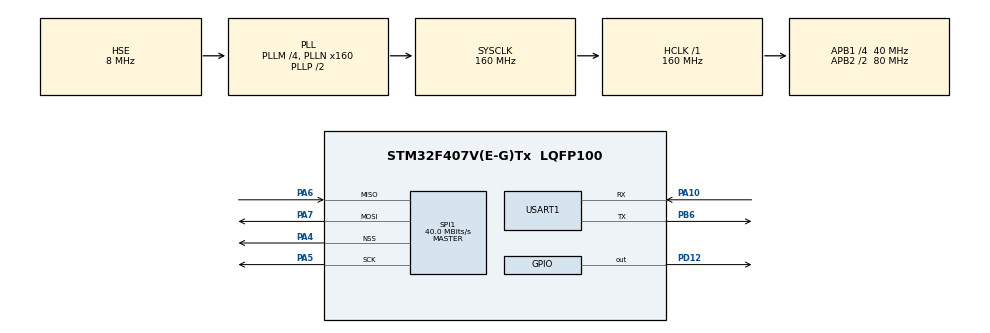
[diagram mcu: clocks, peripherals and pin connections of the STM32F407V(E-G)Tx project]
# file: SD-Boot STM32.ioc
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Mcu.Family=STM32F4
Mcu.Name=STM32F407V(E-G)Tx
Mcu.Package=LQFP100
NVIC.PriorityGroup=NVIC_PRIORITYGROUP_4
PA10.Mode=Asynchronous
PA10.Signal=USART1_RX
PA13.Mode=Serial_Wire
PA13.Signal=SYS_JTMS-SWDIO
PA14.Mode=Serial_Wire
PA14.Signal=SYS_JTCK-SWCLK
PA4.Mode=NSS_Signal_Hard_Output
PA4.Signal=SPI1_NSS
PA5.Mode=Full_Duplex_Master
PA5.Signal=SPI1_SCK
PA6.Mode=Full_Duplex_Master
PA6.Signal=SPI1_MISO
PA7.Mode=Full_Duplex_Master
PA7.Signal=SPI1_MOSI
PB6.Mode=Asynchronous
PB6.Signal=USART1_TX
PD12.Signal=GPIO_Output
PH0-OSC_IN.Mode=HSE-External-Oscillator
PH0-OSC_IN.Signal=RCC_OSC_IN
PH1-OSC_OUT.Mode=HSE-External-Oscillator
PH1-OSC_OUT.Signal=RCC_OSC_OUT
ProjectManager.HeapSize=0x200
ProjectManager.StackSize=0x400
ProjectManager.TargetToolchain=STM32CubeIDE
RCC.48MHZClocksFreq_Value=80000000
RCC.AHBFreq_Value=160000000
RCC.APB1CLKDivider=RCC_HCLK_DIV4
RCC.APB1Freq_Value=40000000
RCC.APB1TimFreq_Value=80000000
RCC.APB2CLKDivider=RCC_HCLK_DIV2
RCC.APB2Freq_Value=80000000
RCC.APB2TimFreq_Value=160000000
RCC.CortexFreq_Value=160000000
RCC.HCLKFreq_Value=160000000
RCC.HSE_VALUE=8000000
RCC.HSI_VALUE=16000000
RCC.LSE_VALUE=32768
RCC.PLLM=4
RCC.PLLN=160
RCC.PLLSourceVirtual=RCC_PLLSOURCE_HSE
RCC.SYSCLKFreq_VALUE=160000000
RCC.SYSCLKSource=RCC_SYSCLKSOURCE_PLLCLK
RCC.VCOOutputFreq_Value=320000000
SPI1.CalculateBaudRate=40.0 MBits/s
SPI1.Direction=SPI_DIRECTION_2LINES
SPI1.Mode=SPI_MODE_MASTER
SPI1.VirtualNSS=VM_NSSHARD
SPI1.VirtualType=VM_MASTER
USART1.VirtualMode=VM_ASYNC
VP_FATFS_VS_Generic.Mode=User_defined
VP_RTC_VS_RTC_Activate.Mode=RTC_Enabled
board=custom

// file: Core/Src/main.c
/* USER CODE BEGIN Header */
/**
 ******************************************************************************
 * @file           : main.c
 * @brief          : Main program body
 ******************************************************************************
 * @attention
 *
 * Copyright (c) 2025 STMicroelectronics.
 * All rights reserved.
 *
 * This software is licensed under terms that can be found in the LICENSE file
 * in the root directory of this software component.
 * If no LICENSE file comes with this software, it is provided AS-IS.
 *
 ******************************************************************************
 */
/* USER CODE END Header */
#include "main.h"
#include "fatfs.h"
#include "rtc.h"
#include "spi.h"
#include "usart.h"
#include "gpio.h"

/* USER CODE BEGIN Includes */
#include <stdio.h>
#include <string.h>
#include "sd_card.h"
#include "stm32f4xx.h"  // Needed for SCB and __set_MSP
#include "app_handler.h"
/* USER CODE END Includes */

/* USER CODE BEGIN PTD */
#define APP_SP_ADD (APP_START_ADDRESS)
#define APP_RESET_HANDLER   (APP_SP_ADD + 4)
/* USER CODE END PTD */

/* USER CODE BEGIN PV */
extern uint32_t APP_START_ADDRESS;

FATFS fs;
FIL file;
FRESULT res;
UINT bw;

/* USER CODE END PV */

void SystemClock_Config(void);
/* USER CODE BEGIN PFP */
void Test_FATFS_SPI(void)
{
    // Mount filesystem
    uint8_t ret = f_mount(&fs, "", 1);
    printf("ret - %d\r\n", ret);
    if (ret == FR_OK)
    {
        // Create and open file
        res = f_open(&file, "hello2.txt", FA_WRITE | FA_CREATE_ALWAYS);
        printf("res - %d\r\n", res);
        if (res == FR_OK)
        {
            char *text = "Hello from STM32 SPI FATFS!\r\n";
            f_write(&file, text, strlen(text), &bw);
            printf("write success\r\n");

            f_close(&file);
        }
        // Unmount
        f_mount(NULL, "", 1);
    }
    else
    {
        printf("Culd not mount\r\n");
    }
}

void jump_to_app();

/* USER CODE END PFP */

int main(void)
{

    /* MCU Configuration--------------------------------------------------------*/

    /* Reset of all peripherals, Initializes the Flash interface and the Systick. */
    HAL_Init();

    /* Configure the system clock */
    SystemClock_Config();

    /* Initialize all configured peripherals */
    MX_GPIO_Init();
    MX_USART1_UART_Init();
    MX_RTC_Init();
    MX_SPI1_Init();
    SD_Init(); // Or whatever your function name is
    MX_FATFS_Init();
    /* USER CODE BEGIN 2 */

    printf("*(uint32_t*) (APP_START_ADDRESS) = %ld\r\n", *(uint32_t*) (APP_START_ADDRESS));
    fflush(stdout);
    HAL_Delay(1000);

    if (*(uint32_t*) (APP_START_ADDRESS) == 0xFFFFFFFF)
    {
        printf("No Code Found\r\n");
//      Test_FATFS_SPI();

        start_firmware_update();
        if (*(int32_t*) (APP_START_ADDRESS) != -1)
        {
        printf("YES Code Found - %8lX %8lX\r\n", *(uint32_t*) (APP_START_ADDRESS), *(uint32_t*) (APP_START_ADDRESS + 4));
            jump_to_app();
        }
    }
    else
    {
        printf("YES Code Found - %8lX %8lX\r\n", *(uint32_t*) (APP_START_ADDRESS),
                        *(uint32_t*) (APP_START_ADDRESS + 4));
        jump_to_app();
    }
    /* USER CODE END 2 */

    /* Infinite loop */
    /* USER CODE BEGIN WHILE */
    while (1)
    {
        HAL_GPIO_TogglePin(GPIOD, GPIO_PIN_12);
        HAL_Delay(100);
        /* USER CODE END WHILE */

    }
}

void SystemClock_Config(void)
{
    RCC_OscInitTypeDef RCC_OscInitStruct = { 0 };
    RCC_ClkInitTypeDef RCC_ClkInitStruct = { 0 };

    /** Configure the main internal regulator output voltage
     */
    __HAL_RCC_PWR_CLK_ENABLE();
    __HAL_PWR_VOLTAGESCALING_CONFIG(PWR_REGULATOR_VOLTAGE_SCALE1);

    /** Initializes the RCC Oscillators according to the specified parameters
     * in the RCC_OscInitTypeDef structure.
     */
    RCC_OscInitStruct.OscillatorType = RCC_OSCILLATORTYPE_LSI | RCC_OSCILLATORTYPE_HSE;
    RCC_OscInitStruct.HSEState = RCC_HSE_ON;
    RCC_OscInitStruct.LSIState = RCC_LSI_ON;
    RCC_OscInitStruct.PLL.PLLState = RCC_PLL_ON;
    RCC_OscInitStruct.PLL.PLLSource = RCC_PLLSOURCE_HSE;
    RCC_OscInitStruct.PLL.PLLM = 4;
    RCC_OscInitStruct.PLL.PLLN = 160;
    RCC_OscInitStruct.PLL.PLLP = RCC_PLLP_DIV2;
    RCC_OscInitStruct.PLL.PLLQ = 4;
    if (HAL_RCC_OscConfig(&RCC_OscInitStruct) != HAL_OK)
    {
        Error_Handler();
    }

    /** Initializes the CPU, AHB and APB buses clocks
     */
    RCC_ClkInitStruct.ClockType = RCC_CLOCKTYPE_HCLK | RCC_CLOCKTYPE_SYSCLK | RCC_CLOCKTYPE_PCLK1 | RCC_CLOCKTYPE_PCLK2;
    RCC_ClkInitStruct.SYSCLKSource = RCC_SYSCLKSOURCE_PLLCLK;
    RCC_ClkInitStruct.AHBCLKDivider = RCC_SYSCLK_DIV1;
    RCC_ClkInitStruct.APB1CLKDivider = RCC_HCLK_DIV4;
    RCC_ClkInitStruct.APB2CLKDivider = RCC_HCLK_DIV2;

    if (HAL_RCC_ClockConfig(&RCC_ClkInitStruct, FLASH_LATENCY_5) != HAL_OK)
    {
        Error_Handler();
    }
}

/* USER CODE BEGIN 4 */
typedef void (*pFunction)(void);

void jump_to_app(void)
{
    uint32_t app_stack = *(volatile uint32_t*) APP_SP_ADD;

    uint32_t app_reset = *(volatile uint32_t*) APP_RESET_HANDLER;

    // Check if application is valid (optional but highly recommended)
//    if ((app_stack & 0x2FFE0000) == 0x20000000) // Valid RAM range
    {
        printf("If \r\n");
        // De-initialize HAL (optional, depends on your bootloader)
        HAL_DeInit();

        // Disable all interrupts
        __disable_irq();

        // Set vector table offset register to application's vector table
        SCB->VTOR = APP_SP_ADD;

        // Set MSP to application's stack pointer
        __set_MSP(app_stack);
        app_reset |= 0x1;
        // Jump to application's reset handler
        ((pFunction) app_reset)();
    }
}

//int _write(int file, char *ptr, int len)
//{
//    HAL_UART_Transmit(&huart1, (uint8_t*) ptr, len, 100);
//    return len;
//}
/* USER CODE END 4 */

void Error_Handler(void)
{
    __disable_irq();
    while (1)
    {
    }
}
